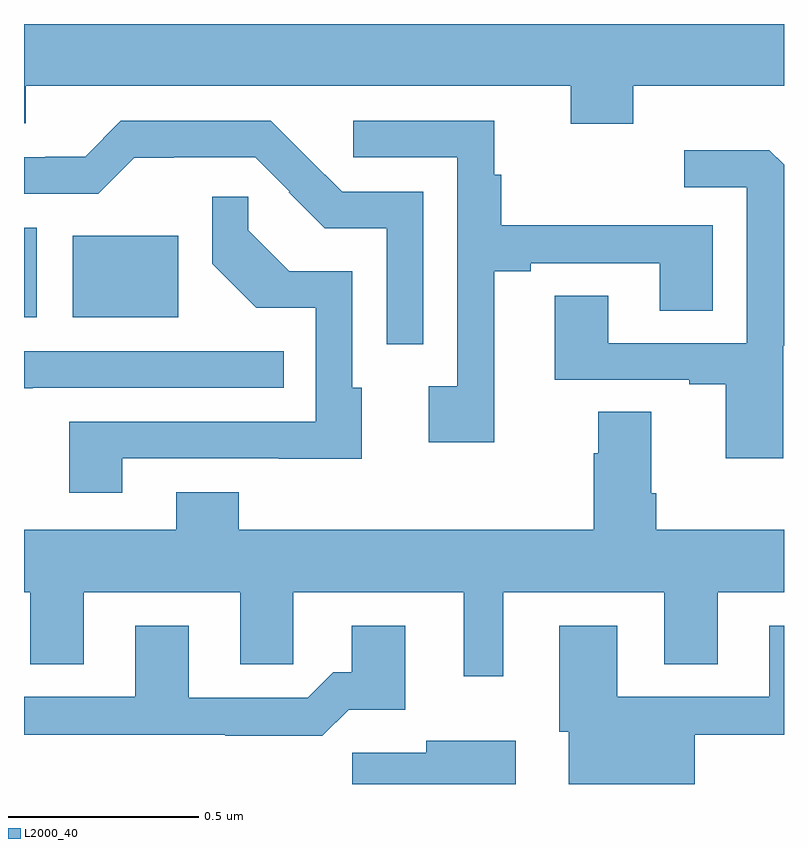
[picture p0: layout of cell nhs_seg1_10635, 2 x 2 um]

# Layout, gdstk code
import gdstk
lib = gdstk.Library(unit=1e-6, precision=1e-09)
def R(c, l, rs):  # rectangles x0, y0, x1, y1
    for r in rs: c.add(gdstk.rectangle(r[:2], r[2:], *l))
def P(c, l, *ps):  # polygons
    for p in ps: c.add(gdstk.Polygon(p, *l))
L2000_40 = (2000, 40)

nhs_seg1_10635 = lib.new_cell('nhs_seg1_10635')
R(nhs_seg1_10635, L2000_40, [(243,580.427,243.034,580.663), (243.128,580.427,243.406,580.642)])
P(nhs_seg1_10635, L2000_40, [(244.603,581.036),(245,581.036),(245,581.199),(243,581.199),(243,580.938),(243.004,580.938),(243.004,581.036),(244.439,581.036),(244.439,580.937),(244.603,580.937)],
  [(244.237,580.549),(244.333,580.549),(244.333,580.569),(244.673,580.569),(244.673,580.444),(244.813,580.444),(244.813,580.67),(244.256,580.67),(244.256,580.802),(244.238,580.802),(244.238,580.944),(243.867,580.944),(243.867,580.848),(244.14,580.848),(244.14,580.246),(244.065,580.246),(244.065,580.098),(244.237,580.098)],
  [(244.05,580.758),(243.837,580.758),(243.746,580.849),(243.745,580.848),(243.649,580.944),(243.255,580.944),(243.161,580.85),(243.056,580.85),(243.056,580.848),(243,580.848),(243,580.752),(243.195,580.752),(243.29,580.847),(243.394,580.847),(243.394,580.848),(243.609,580.848),(243.699,580.758),(243.697,580.756),(243.791,580.662),(243.954,580.662),(243.954,580.356),(244.05,580.356)],
  [(244.998,580.352),(245,580.352),(245,580.828),(244.961,580.867),(244.737,580.867),(244.737,580.77),(244.902,580.77),(244.902,580.359),(244.537,580.359),(244.537,580.484),(244.397,580.484),(244.397,580.263),(244.751,580.263),(244.751,580.251),(244.847,580.251),(244.847,580.056),(244.998,580.056)],
  [(243.259,580.056),(243.671,580.056),(243.671,580.055),(243.889,580.055),(243.889,580.242),(243.864,580.242),(243.864,580.548),(243.698,580.548),(243.59,580.656),(243.59,580.744),(243.495,580.744),(243.495,580.568),(243.611,580.452),(243.768,580.452),(243.768,580.152),(243.119,580.152),(243.119,579.966),(243.259,579.966)],
  [(243.023,580.242),(243.683,580.242),(243.683,580.338),(243,580.338),(243,580.241),(243.023,580.241)],
  [(244.261,579.704),(244.685,579.704),(244.685,579.514),(244.825,579.514),(244.825,579.704),(245,579.704),(245,579.868),(244.664,579.868),(244.664,579.964),(244.651,579.964),(244.651,580.178),(244.511,580.178),(244.511,580.07),(244.499,580.07),(244.499,579.868),(243.565,579.868),(243.565,579.967),(243.401,579.967),(243.401,579.868),(243,579.868),(243,579.704),(243.017,579.704),(243.017,579.514),(243.157,579.514),(243.157,579.704),(243.569,579.704),(243.569,579.514),(243.708,579.514),(243.708,579.704),(244.157,579.704),(244.157,579.483),(244.261,579.483)],
  [(243.854,579.395),(244.003,579.395),(244.003,579.616),(243.863,579.616),(243.863,579.493),(243.814,579.493),(243.747,579.426),(243.433,579.426),(243.433,579.616),(243.293,579.616),(243.293,579.429),(243,579.429),(243,579.328),(243.529,579.328),(243.529,579.326),(243.785,579.326)],
  [(244.765,579.328),(245,579.328),(245,579.616),(244.961,579.616),(244.961,579.429),(244.561,579.429),(244.561,579.616),(244.409,579.616),(244.409,579.336),(244.433,579.336),(244.433,579.199),(244.765,579.199)],
  [(244.294,579.313),(244.058,579.313),(244.058,579.281),(243.864,579.281),(243.864,579.199),(244.294,579.199)])

lib.write_gds('nhs_seg1_10635.gds')
